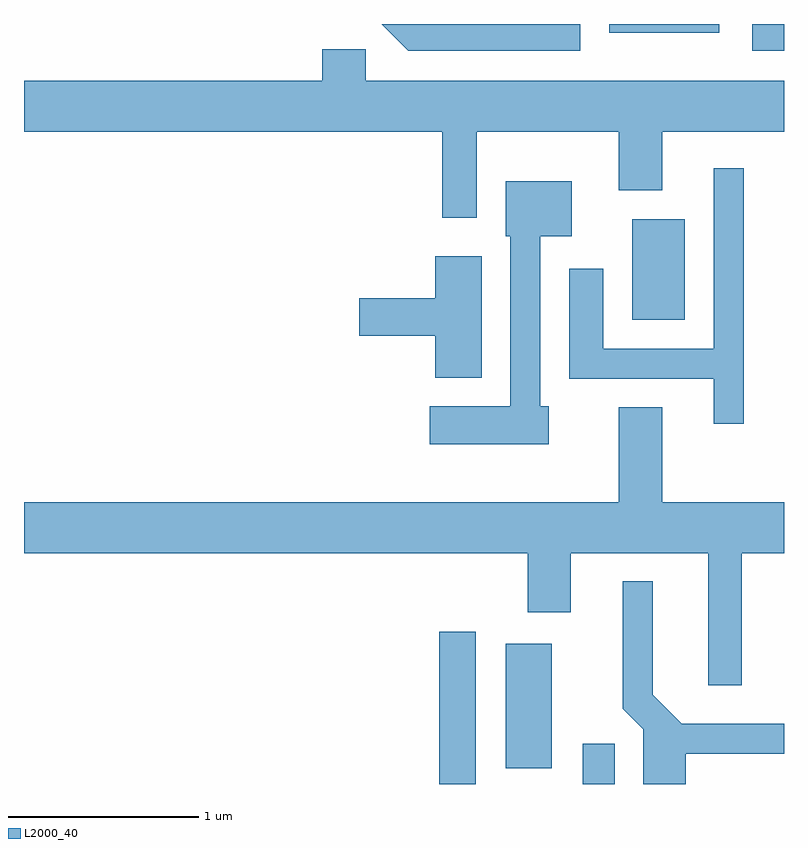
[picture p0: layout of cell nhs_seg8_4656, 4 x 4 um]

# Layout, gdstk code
import gdstk
lib = gdstk.Library(unit=1e-6, precision=1e-09)
def R(c, l, rs):  # rectangles x0, y0, x1, y1
    for r in rs: c.add(gdstk.rectangle(r[:2], r[2:], *l))
def P(c, l, *ps):  # polygons
    for p in ps: c.add(gdstk.Polygon(p, *l))
L2000_40 = (2000, 40)

nhs_seg8_4656 = lib.new_cell('nhs_seg8_4656')
R(nhs_seg8_4656, L2000_40, [(327.796,1806.342,327.989,1807.144), (328.551,1806.342,328.719,1806.553), (328.146,1806.426,328.389,1807.079), (328.811,1808.786,329.089,1809.314), (329.443,1810.201,329.611,1810.342), (328.691,1810.296,329.269,1810.342)])
P(nhs_seg8_4656, L2000_40, [(328.539,1810.342),(327.493,1810.342),(327.634,1810.201),(328.539,1810.201)],
  [(327.994,1809.776),(328.741,1809.776),(328.741,1809.466),(328.969,1809.466),(328.969,1809.776),(329.611,1809.776),(329.611,1810.044),(327.409,1810.044),(327.409,1810.209),(327.181,1810.209),(327.181,1810.044),(325.611,1810.044),(325.611,1809.776),(327.811,1809.776),(327.811,1809.321),(327.994,1809.321)],
  [(329.399,1809.583),(329.241,1809.583),(329.241,1808.634),(328.659,1808.634),(328.659,1809.054),(328.481,1809.054),(328.481,1808.476),(329.241,1808.476),(329.241,1808.238),(329.399,1808.238)],
  [(328.374,1808.329),(328.329,1808.329),(328.329,1809.226),(328.494,1809.226),(328.494,1809.514),(328.146,1809.514),(328.146,1809.226),(328.171,1809.226),(328.171,1808.329),(327.746,1808.329),(327.746,1808.131),(328.374,1808.131)],
  [(328.019,1809.119),(327.776,1809.119),(327.776,1808.899),(327.376,1808.899),(327.376,1808.701),(327.776,1808.701),(327.776,1808.481),(328.019,1808.481)],
  [(329.389,1807.556),(329.611,1807.556),(329.611,1807.824),(328.969,1807.824),(328.969,1808.324),(328.741,1808.324),(328.741,1807.824),(325.611,1807.824),(325.611,1807.556),(328.261,1807.556),(328.261,1807.246),(328.489,1807.246),(328.489,1807.556),(329.211,1807.556),(329.211,1806.861),(329.389,1806.861)],
  [(329.094,1806.501),(329.611,1806.501),(329.611,1806.659),(329.072,1806.659),(328.919,1806.812),(328.919,1807.408),(328.761,1807.408),(328.761,1806.739),(328.871,1806.629),(328.871,1806.342),(329.094,1806.342)])

lib.write_gds('nhs_seg8_4656.gds')
